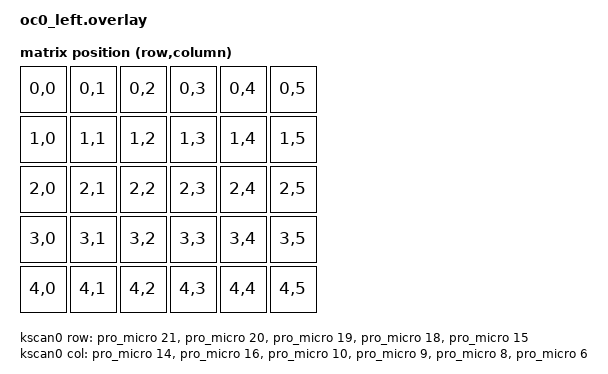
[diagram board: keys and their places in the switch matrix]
#include "oc0.dtsi"

/ {
    chosen {
        zmk,kscan = &kscan0;
        // Point to a LOCAL transform defined below, not the global one in oc0.dtsi
        zmk,matrix-transform = &matrix_transform_left; 
    };

    kscan0: kscan0 {
        compatible = "zmk,kscan-gpio-matrix";
        // Ensure diode direction matches your physical wiring (Stripe -> Row usually for col2row)
        // If your stripe faces the MCU (Column), then current flows Row->Col, so diodes face Col? 
        // Standard ZMK "col2row" means Diodes point TO the Column pin.
        // Since you said Stripe faces MCU, and MCU holds Columns, this is correct.
        diode-direction = "col2row"; 
        
        wakeup-source;

        /* LEFT HALF COLUMNS ONLY (6 Pins) */
        col-gpios
            = <&pro_micro 14 GPIO_ACTIVE_HIGH>
            , <&pro_micro 16 GPIO_ACTIVE_HIGH>
            , <&pro_micro 10 GPIO_ACTIVE_HIGH>
            , <&pro_micro 9 GPIO_ACTIVE_HIGH>
            , <&pro_micro 8 GPIO_ACTIVE_HIGH>
            , <&pro_micro 6 GPIO_ACTIVE_HIGH>
            ;

        /* ROWS (Shared or specific to left? Usually shared in splits) */
        row-gpios
            = <&pro_micro 21 (GPIO_ACTIVE_HIGH | GPIO_PULL_DOWN)>
            , <&pro_micro 20 (GPIO_ACTIVE_HIGH | GPIO_PULL_DOWN)>
            , <&pro_micro 19 (GPIO_ACTIVE_HIGH | GPIO_PULL_DOWN)>
            , <&pro_micro 18 (GPIO_ACTIVE_HIGH | GPIO_PULL_DOWN)>
            , <&pro_micro 15 (GPIO_ACTIVE_HIGH | GPIO_PULL_DOWN)>
            ;
    };

    // DEFINE THE TRANSFORM FOR THE LEFT SIDE ONLY
    matrix_transform_left: matrix_transform_left {
        compatible = "zmk,matrix-transform";
        
        // Only 6 columns for the left side!
        columns = <6>; 
        rows = <5>; // Adjust if you have more/fewer rows physically
        
        map = <
            /* Row 0: 6 Keys (Indices 0-5) */
            RC(0,0) RC(0,1) RC(0,2) RC(0,3) RC(0,4) RC(0,5)
            /* Row 1 */
            RC(1,0) RC(1,1) RC(1,2) RC(1,3) RC(1,4) RC(1,5)
            /* Row 2 */
            RC(2,0) RC(2,1) RC(2,2) RC(2,3) RC(2,4) RC(2,5)
            /* Row 3 */
            RC(3,0) RC(3,1) RC(3,2) RC(3,3) RC(3,4) RC(3,5)
            /* Row 4: Thumb Keys (Adjust these indices based on where they sit in your physical layout) */
            /* 
               Looking at your layout file: 
               Row 4 starts at index 44 (4th row of 12? No, 4*12 + x).
               In a 6-col split, thumbs are usually mapped as the first few columns of the last row.
               Let's assume they occupy cols 0-2 and 3-5 of the right side.
               
               For LEFT side, we map the 6 keys available.
               If your thumb keys are physically on the left side bottom row:
            */
            RC(4,0) RC(4,1) RC(4,2) RC(4,3) RC(4,4) RC(4,5)
        >;
    };
};

&physical_layout_oc0 {
    // Link to the LEFT transform
    transform = <&matrix_transform_left>;
    kscan = <&kscan0>;
};
